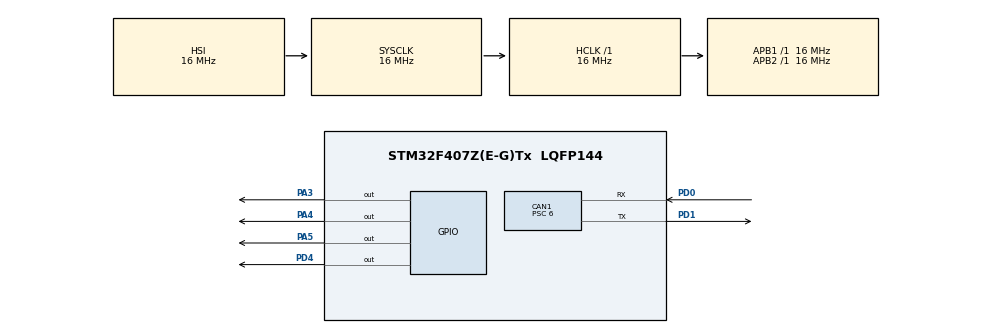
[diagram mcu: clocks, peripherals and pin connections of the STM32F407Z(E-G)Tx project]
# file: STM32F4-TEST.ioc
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CAN1.ABOM=ENABLE
CAN1.AWUM=ENABLE
CAN1.BS1=CAN_BS1_3TQ
CAN1.BS2=CAN_BS2_3TQ
CAN1.CalculateBaudRate=380952
CAN1.CalculateTimeBit=2625
CAN1.CalculateTimeQuantum=375.0
CAN1.Mode=CAN_MODE_LOOPBACK
CAN1.Prescaler=6
Mcu.Family=STM32F4
Mcu.Name=STM32F407Z(E-G)Tx
Mcu.Package=LQFP144
NVIC.CAN1_RX0_IRQn=true\:0\:0\:false\:false\:true\:true\:true
NVIC.PriorityGroup=NVIC_PRIORITYGROUP_4
PA13.Mode=JTAG_4_pins
PA13.Signal=SYS_JTMS-SWDIO
PA14.Mode=JTAG_4_pins
PA14.Signal=SYS_JTCK-SWCLK
PA15.Mode=JTAG_4_pins
PA15.Signal=SYS_JTDI
PA3.GPIO_ModeDefaultOutputPP=GPIO_MODE_OUTPUT_PP
PA3.GPIO_PuPd=GPIO_PULLDOWN
PA3.GPIO_Speed=GPIO_SPEED_FREQ_LOW
PA3.PinState=GPIO_PIN_RESET
PA3.Signal=GPIO_Output
PA4.GPIO_ModeDefaultOutputPP=GPIO_MODE_OUTPUT_PP
PA4.GPIO_PuPd=GPIO_PULLDOWN
PA4.GPIO_Speed=GPIO_SPEED_FREQ_LOW
PA4.PinState=GPIO_PIN_RESET
PA4.Signal=GPIO_Output
PA5.GPIO_ModeDefaultOutputPP=GPIO_MODE_OUTPUT_PP
PA5.GPIO_PuPd=GPIO_PULLDOWN
PA5.GPIO_Speed=GPIO_SPEED_FREQ_LOW
PA5.PinState=GPIO_PIN_RESET
PA5.Signal=GPIO_Output
PB3.Mode=JTAG_4_pins
PB3.Signal=SYS_JTDO-SWO
PD0.Mode=CAN_Activate
PD0.Signal=CAN1_RX
PD1.Mode=CAN_Activate
PD1.Signal=CAN1_TX
PD4.GPIO_PuPd=GPIO_PULLUP
PD4.PinState=GPIO_PIN_SET
PD4.Signal=GPIO_Output
ProjectManager.HeapSize=0x200
ProjectManager.StackSize=0x400
ProjectManager.TargetToolchain=MDK-ARM V5.32
RCC.AHBFreq_Value=16000000
RCC.APB1Freq_Value=16000000
RCC.APB2Freq_Value=16000000
RCC.CortexFreq_Value=16000000
RCC.HSE_VALUE=25000000
RCC.HSI_VALUE=16000000
RCC.LSE_VALUE=32768
RCC.SYSCLKFreq_VALUE=16000000
RCC.VCOOutputFreq_Value=192000000
board=custom

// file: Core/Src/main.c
/* USER CODE BEGIN Header */
/**
  ******************************************************************************
  * @file           : main.c
  * @brief          : Main program body
  ******************************************************************************
  * @attention
  *
  * Copyright (c) 2022 STMicroelectronics.
  * All rights reserved.
  *
  * This software is licensed under terms that can be found in the LICENSE file
  * in the root directory of this software component.
  * If no LICENSE file comes with this software, it is provided AS-IS.
  *
  ******************************************************************************
  */
/* USER CODE END Header */
#include "main.h"

CAN_HandleTypeDef hcan1;

void SystemClock_Config(void);
static void MX_GPIO_Init(void);
static void MX_CAN1_Init(void);

/* USER CODE BEGIN 0 */

/*
 * 函数名：CAN_Filter_Config
 * 描述  ：CAN的过滤器 配置
 * 输入  ：无
 * 输出  : 无
 * 调用  ：内部调用
 */
static void CAN_Filter_Config(void)
{
	CAN_FilterTypeDef  CAN_FilterTypeDef;

	/*CAN筛选器初始化*/
	CAN_FilterTypeDef.FilterBank=0;						//筛选器组0
	CAN_FilterTypeDef.FilterMode=CAN_FILTERMODE_IDLIST;	//工作在列表模式
	CAN_FilterTypeDef.FilterScale=CAN_FILTERSCALE_32BIT;	//筛选器位宽为单个32位。
	/* 使能筛选器，按照标志的内容进行比对筛选，扩展ID不是如下的就抛弃掉，是的话，会存入FIFO0。 */

	CAN_FilterTypeDef.FilterIdHigh= ((((uint32_t)0x2233<<3)|
										 CAN_ID_EXT|CAN_RTR_DATA)&0xFFFF0000)>>16;		//要筛选的ID高位
	CAN_FilterTypeDef.FilterIdLow= (((uint32_t)0x2233<<3)|
									     CAN_ID_EXT|CAN_RTR_DATA)&0xFFFF; //要筛选的ID低位
	CAN_FilterTypeDef.FilterMaskIdHigh= 0;		//第二个ID的高位
	CAN_FilterTypeDef.FilterMaskIdLow= 0;			//第二个ID的低位
	CAN_FilterTypeDef.FilterFIFOAssignment=CAN_FILTER_FIFO0 ;	//筛选器被关联到FIFO0
	CAN_FilterTypeDef.FilterActivation=ENABLE;			//使能筛选器
	HAL_CAN_ConfigFilter(&hcan1,&CAN_FilterTypeDef);
}

__IO uint32_t CAN_RxFlag = 0;		 //用于标志是否接收到数据，在中断函数中赋值

CAN_TxHeaderTypeDef TxMes;		//发送结构体
CAN_RxHeaderTypeDef RxMes;		//接收结构体

uint8_t CAN_TxDate[9]="CAN LOOP";								//发送缓冲区
uint8_t CAN_RxDate[9];								//接收缓冲区

uint32_t TxMailbox;			//用于指示CAN消息发送函数HAL_CAN_AddTxMessage使用了哪个邮箱来发送数据

/**
  * @brief  初始化 Rx Message数据结构体
  * @param  RxMessage: 指向要初始化的数据结构体
  * @retval None
  */
void CAN_RxMesInit(CAN_RxHeaderTypeDef* RxMessage)
{

	/*把接收结构体清零*/
  (*RxMessage).StdId = 0x00;
  (*RxMessage).ExtId = 0x00;
  (*RxMessage).IDE = CAN_ID_STD;
  (*RxMessage).DLC = 0;
  (*RxMessage).RTR = 0;
  (*RxMessage).FilterMatchIndex = 0;
	(*RxMessage).Timestamp = 0;
}

/*
 * 函数名：CAN_TxMsgInit
  * @brief  初始化TxMessage数据结构体
  * @param  TxMessage: 指向要初始化的数据结构体
  * @retval None
 */
void CAN_TxMsgInit(CAN_TxHeaderTypeDef* TxMessage)
{
  (*TxMessage).StdId=0x00;
  (*TxMessage).ExtId=0x2233;					 //使用的扩展ID
  (*TxMessage).IDE=CAN_ID_EXT;				  //扩展模式
  (*TxMessage).RTR=CAN_RTR_DATA;				 //发送的是数据
  (*TxMessage).DLC=8;							 //数据长度为8字节
}

/*
 * 函数名：CAN_Config
 * 描述  ：完整配置CAN的功能
 * 输入  ：无
 * 输出  : 无
 * 调用  ：MX的CAN初始化调用
 */
void CAN_Config(void)
{
	  CAN_Filter_Config();

  CAN_TxMsgInit(&TxMes);
  CAN_RxMesInit(&RxMes);
	HAL_CAN_ActivateNotification(&hcan1,CAN_IT_RX_FIFO0_MSG_PENDING);				//使能FIFO0接收到数据中断
	HAL_CAN_Start(&hcan1);		//开启CAN1
}

/**
  * @brief  CAN接收完成中断(非阻塞)
  * @param  hcan: CAN句柄指针
  * @retval 无
  */
void HAL_CAN_RxFifo0MsgPendingCallback(CAN_HandleTypeDef* hcan)
{
	/* 比较ID是否为0x2233 */
	HAL_CAN_GetRxMessage(&hcan1,CAN_RX_FIFO0,&RxMes,CAN_RxDate);
	if((RxMes.ExtId==0x2233) && (RxMes.IDE==CAN_ID_EXT) && (RxMes.DLC==8) )
	{
		CAN_RxFlag = 1; //接收成功
	}
	else
	{
		CAN_RxFlag = 0; //接收失败
	}
}

/* USER CODE END 0 */

int main(void)
{

  /* MCU Configuration--------------------------------------------------------*/

  /* Reset of all peripherals, Initializes the Flash interface and the Systick. */
  HAL_Init();

  /* Configure the system clock */
  SystemClock_Config();

  /* Initialize all configured peripherals */
  MX_GPIO_Init();
  MX_CAN1_Init();
  /* USER CODE BEGIN 2 */
	CAN_Config();
	HAL_CAN_AddTxMessage(&hcan1, &TxMes, CAN_TxDate, &TxMailbox);
  /* USER CODE END 2 */

  /* Infinite loop */
  /* USER CODE BEGIN WHILE */
	HAL_GPIO_WritePin(GPIOA, GPIO_PIN_3, GPIO_PIN_RESET);
  while (1)
  {
		if(CAN_RxFlag)
		{
			CAN_RxFlag = 0;
			HAL_GPIO_WritePin(GPIOA, GPIO_PIN_3, GPIO_PIN_SET);
		}
		HAL_GPIO_TogglePin(GPIOA, GPIO_PIN_4);
		HAL_GPIO_TogglePin(GPIOA, GPIO_PIN_5);
		HAL_GPIO_TogglePin(GPIOD, GPIO_PIN_4);
		HAL_Delay(1000);
    /* USER CODE END WHILE */

  }
}

void SystemClock_Config(void)
{
  RCC_OscInitTypeDef RCC_OscInitStruct = {0};
  RCC_ClkInitTypeDef RCC_ClkInitStruct = {0};

  /** Configure the main internal regulator output voltage
  */
  __HAL_RCC_PWR_CLK_ENABLE();
  __HAL_PWR_VOLTAGESCALING_CONFIG(PWR_REGULATOR_VOLTAGE_SCALE1);
  /** Initializes the RCC Oscillators according to the specified parameters
  * in the RCC_OscInitTypeDef structure.
  */
  RCC_OscInitStruct.OscillatorType = RCC_OSCILLATORTYPE_HSI;
  RCC_OscInitStruct.HSIState = RCC_HSI_ON;
  RCC_OscInitStruct.HSICalibrationValue = RCC_HSICALIBRATION_DEFAULT;
  RCC_OscInitStruct.PLL.PLLState = RCC_PLL_NONE;
  if (HAL_RCC_OscConfig(&RCC_OscInitStruct) != HAL_OK)
  {
    Error_Handler();
  }
  /** Initializes the CPU, AHB and APB buses clocks
  */
  RCC_ClkInitStruct.ClockType = RCC_CLOCKTYPE_HCLK|RCC_CLOCKTYPE_SYSCLK
                              |RCC_CLOCKTYPE_PCLK1|RCC_CLOCKTYPE_PCLK2;
  RCC_ClkInitStruct.SYSCLKSource = RCC_SYSCLKSOURCE_HSI;
  RCC_ClkInitStruct.AHBCLKDivider = RCC_SYSCLK_DIV1;
  RCC_ClkInitStruct.APB1CLKDivider = RCC_HCLK_DIV1;
  RCC_ClkInitStruct.APB2CLKDivider = RCC_HCLK_DIV1;

  if (HAL_RCC_ClockConfig(&RCC_ClkInitStruct, FLASH_LATENCY_0) != HAL_OK)
  {
    Error_Handler();
  }
}

static void MX_CAN1_Init(void)
{

  hcan1.Instance = CAN1;
  hcan1.Init.Prescaler = 6;
  hcan1.Init.Mode = CAN_MODE_LOOPBACK;
  hcan1.Init.SyncJumpWidth = CAN_SJW_1TQ;
  hcan1.Init.TimeSeg1 = CAN_BS1_3TQ;
  hcan1.Init.TimeSeg2 = CAN_BS2_3TQ;
  hcan1.Init.TimeTriggeredMode = DISABLE;
  hcan1.Init.AutoBusOff = ENABLE;
  hcan1.Init.AutoWakeUp = ENABLE;
  hcan1.Init.AutoRetransmission = DISABLE;
  hcan1.Init.ReceiveFifoLocked = DISABLE;
  hcan1.Init.TransmitFifoPriority = DISABLE;
  if (HAL_CAN_Init(&hcan1) != HAL_OK)
  {
    Error_Handler();
  }

}

static void MX_GPIO_Init(void)
{
  GPIO_InitTypeDef GPIO_InitStruct = {0};

  /* GPIO Ports Clock Enable */
  __HAL_RCC_GPIOA_CLK_ENABLE();
  __HAL_RCC_GPIOD_CLK_ENABLE();
  __HAL_RCC_GPIOB_CLK_ENABLE();

  /*Configure GPIO pin Output Level */
  HAL_GPIO_WritePin(GPIOA, GPIO_PIN_3|GPIO_PIN_4|GPIO_PIN_5, GPIO_PIN_RESET);

  /*Configure GPIO pin Output Level */
  HAL_GPIO_WritePin(GPIOD, GPIO_PIN_4, GPIO_PIN_SET);

  /*Configure GPIO pins : PA3 PA4 PA5 */
  GPIO_InitStruct.Pin = GPIO_PIN_3|GPIO_PIN_4|GPIO_PIN_5;
  GPIO_InitStruct.Mode = GPIO_MODE_OUTPUT_PP;
  GPIO_InitStruct.Pull = GPIO_PULLDOWN;
  GPIO_InitStruct.Speed = GPIO_SPEED_FREQ_LOW;
  HAL_GPIO_Init(GPIOA, &GPIO_InitStruct);

  /*Configure GPIO pin : PD4 */
  GPIO_InitStruct.Pin = GPIO_PIN_4;
  GPIO_InitStruct.Mode = GPIO_MODE_OUTPUT_PP;
  GPIO_InitStruct.Pull = GPIO_PULLUP;
  GPIO_InitStruct.Speed = GPIO_SPEED_FREQ_LOW;
  HAL_GPIO_Init(GPIOD, &GPIO_InitStruct);

}

void Error_Handler(void)
{
  __disable_irq();
  while (1)
  {
  }
}
